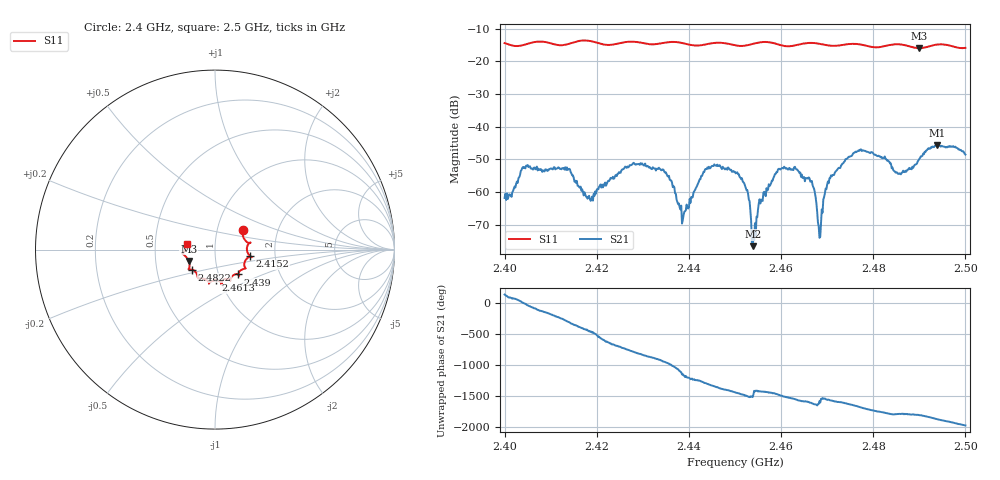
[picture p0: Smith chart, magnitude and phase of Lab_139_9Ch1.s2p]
# Hz S RI R 50
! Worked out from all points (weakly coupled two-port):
!   601 points, 2.4 GHz to 2.5 GHz, reference 50 ohm
!   highest |S21| = -45.71 dB at 2.4938 GHz (marker M1); lowest = -76.5 dB at 2.4538 GHz (marker M2)
!   lowest |S11| = -15.9 dB at 2.49 GHz (marker M3), VSWR 1.38, Z = 37 - j4.83 ohm
!   |S11| at or under -10 dB: start of sweep to end of sweep
!   S12 and S22 are empty: the file has one direction only
!   S11 on the Smith chart (normalised r, x): 2.4 GHz: 1.33, +0.31; 2.4152 GHz: 1.48, -0.11; 2.439 GHz: 1.24, -0.36; 2.4613 GHz: 0.96, -0.34; 2.4822 GHz: 0.76, -0.17; 2.5 GHz: 0.73, +0.05
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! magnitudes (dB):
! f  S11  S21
! 2.4 GHz  -14.4  -61.8
! 2.4045 GHz  -14.8  -52.7
! 2.4152 GHz  -14.0  -56.8
! 2.4167 GHz  -13.6  -59.6
! 2.4333 GHz  -14.6  -52.9
! 2.439 GHz  -14.5  -66.0
! 2.4438 GHz  -14.7  -53.0
! 2.45 GHz  -15.0  -53.8
! 2.4527 GHz  -15.0  -59.4
! 2.4538 GHz  -14.6  -76.5
! 2.4558 GHz  -14.1  -62.6
! 2.4613 GHz  -15.4  -52.8
! 2.4667 GHz  -14.3  -56.6
! 2.4685 GHz  -14.6  -73.7
! 2.4702 GHz  -15.1  -56.7
! 2.4742 GHz  -14.7  -49.9
! 2.4822 GHz  -15.4  -49.6
! 2.4833 GHz  -15.0  -50.6
! 2.4858 GHz  -14.7  -54.4
! 2.49 GHz  -15.9  -49.9
! 2.4938 GHz  -14.8  -45.7
! 2.5 GHz  -15.8  -48.5
